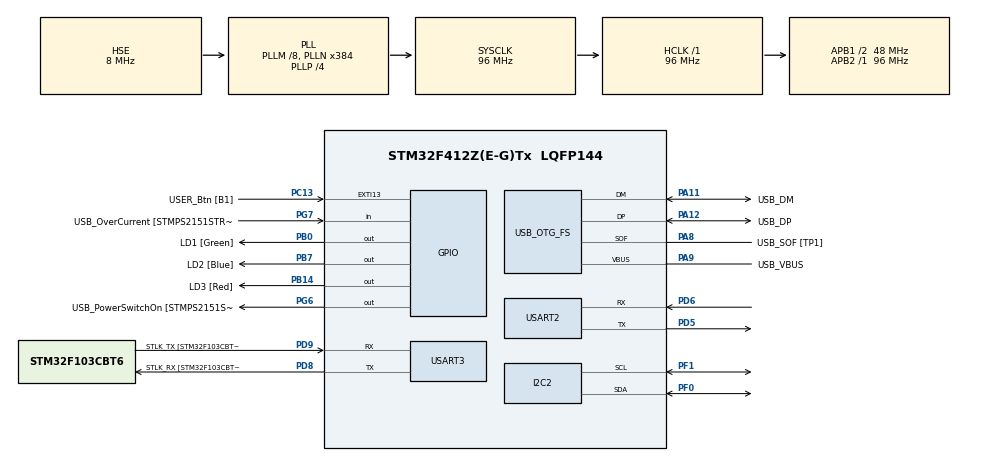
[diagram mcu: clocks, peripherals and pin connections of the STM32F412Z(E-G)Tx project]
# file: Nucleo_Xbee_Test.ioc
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Mcu.Family=STM32F4
Mcu.Name=STM32F412Z(E-G)Tx
Mcu.Package=LQFP144
NVIC.PriorityGroup=NVIC_PRIORITYGROUP_4
PA10.GPIO_Label=USB_ID
PA10.Signal=USB_OTG_FS_ID
PA11.GPIO_Label=USB_DM
PA11.Mode=Device_Only
PA11.Signal=USB_OTG_FS_DM
PA12.GPIO_Label=USB_DP
PA12.Mode=Device_Only
PA12.Signal=USB_OTG_FS_DP
PA13.GPIO_Label=TMS
PA13.Mode=Serial_Wire
PA13.Signal=SYS_JTMS-SWDIO
PA14.GPIO_Label=TCK
PA14.Mode=Serial_Wire
PA14.Signal=SYS_JTCK-SWCLK
PA8.GPIO_Label=USB_SOF [TP1]
PA8.Mode=Activate_SOF_FS
PA8.Signal=USB_OTG_FS_SOF
PA9.GPIO_Label=USB_VBUS
PA9.Mode=Activate_VBUS
PA9.Signal=USB_OTG_FS_VBUS
PB0.GPIO_Label=LD1 [Green]
PB0.Signal=GPIO_Output
PB14.GPIO_Label=LD3 [Red]
PB14.Signal=GPIO_Output
PB3.GPIO_Label=SWO
PB3.Signal=SYS_JTDO-SWO
PB7.GPIO_Label=LD2 [Blue]
PB7.Signal=GPIO_Output
PB8.Signal=I2C1_SCL
PC13.GPIO_Label=USER_Btn [B1]
PC13.Signal=GPXTI13
PC14-OSC32_IN.Mode=LSE-External-Oscillator
PC14-OSC32_IN.Signal=RCC_OSC32_IN
PC15-OSC32_OUT.Mode=LSE-External-Oscillator
PC15-OSC32_OUT.Signal=RCC_OSC32_OUT
PD5.Mode=Asynchronous
PD5.Signal=USART2_TX
PD6.Mode=Asynchronous
PD6.Signal=USART2_RX
PD8.GPIO_Label=STLK_RX [STM32F103CBT6_PA3]
PD8.Mode=Asynchronous
PD8.Signal=USART3_TX
PD9.GPIO_Label=STLK_TX [STM32F103CBT6_PA2]
PD9.Mode=Asynchronous
PD9.Signal=USART3_RX
PF0.Mode=I2C
PF0.Signal=I2C2_SDA
PF1.Mode=I2C
PF1.Signal=I2C2_SCL
PG14.Signal=USART6_TX
PG6.GPIO_Label=USB_PowerSwitchOn [STMPS2151STR_EN]
PG6.Signal=GPIO_Output
PG7.GPIO_Label=USB_OverCurrent [STMPS2151STR_FAULT]
PG7.Signal=GPIO_Input
PG9.Signal=USART6_RX
PH0\ -\ OSC_IN.GPIO_Label=MCO
PH0\ -\ OSC_IN.Mode=HSE-External-Clock-Source
PH0\ -\ OSC_IN.Signal=RCC_OSC_IN
PH1\ -\ OSC_OUT.Mode=HSE-External-Clock-Source
PH1\ -\ OSC_OUT.Signal=RCC_OSC_OUT
ProjectManager.HeapSize=0x200
ProjectManager.StackSize=0x400
ProjectManager.TargetToolchain=STM32CubeIDE
RCC.48MHZClocksFreq_Value=24000000
RCC.AHBFreq_Value=96000000
RCC.APB1CLKDivider=RCC_HCLK_DIV2
RCC.APB1Freq_Value=48000000
RCC.APB1TimFreq_Value=96000000
RCC.APB2Freq_Value=96000000
RCC.APB2TimFreq_Value=96000000
RCC.CortexFreq_Value=96000000
RCC.HCLKFreq_Value=96000000
RCC.HSE_VALUE=8000000
RCC.HSI_VALUE=16000000
RCC.PLLM=8
RCC.PLLMUL=RCC_PLL_MUL9
RCC.PLLN=384
RCC.PLLP=RCC_PLLP_DIV4
RCC.PLLQ=8
RCC.PRESCALERUSB=RCC_USBCLKSOURCE_PLL_DIV1_5
RCC.SYSCLKFreq_VALUE=96000000
RCC.SYSCLKSource=RCC_SYSCLKSOURCE_PLLCLK
RCC.SYSCLKSourceVirtual=RCC_SYSCLKSOURCE_PLLCLK
RCC.USBFreq_Value=48000000
RCC.VCOOutputFreq_Value=384000000
USART2.VirtualMode=VM_ASYNC
USART3.VirtualMode=VM_ASYNC
USB_OTG_FS.VirtualMode=Device_Only
board=NUCLEO-F412ZG

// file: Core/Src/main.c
/* USER CODE BEGIN Header */
/**
  ******************************************************************************
  * @file           : main.c
  * @brief          : Main program body
  ******************************************************************************
  * @attention
  *
  * Copyright (c) 2024 STMicroelectronics.
  * All rights reserved.
  *
  * This software is licensed under terms that can be found in the LICENSE file
  * in the root directory of this software component.
  * If no LICENSE file comes with this software, it is provided AS-IS.
  *
  ******************************************************************************
  */
/* USER CODE END Header */
#include "main.h"
#include <stdio.h>
#include <string.h>

/* USER CODE BEGIN PTD */
typedef uint8_t bool;
/* USER CODE END PTD */

/* USER CODE BEGIN PD */
#define RX_BFR_SIZE 50
#define TX_BFR_SIZE 255

#define TEAM_ID 2057
/* USER CODE END PD */

/* USER CODE BEGIN PM */

// XBee
uint8_t packet_count = 0;
uint8_t rx_packet[RX_BFR_SIZE];
uint8_t tx_data[TX_BFR_SIZE-18];
uint8_t tx_data2[TX_BFR_SIZE-18];
uint8_t tx_packet[TX_BFR_SIZE];
uint8_t tx_packet2[TX_BFR_SIZE];
uint8_t tx_count;
uint8_t tx_count2;
bool tx_ready;
uint8_t tx_part;
int8_t mission_time_hr;
int8_t mission_time_min;
int8_t mission_time_sec;
uint8_t rx_data[255];
HAL_StatusTypeDef uart_received;

/* USER CODE END PM */

I2C_HandleTypeDef hi2c2;

UART_HandleTypeDef huart2;
UART_HandleTypeDef huart3;

PCD_HandleTypeDef hpcd_USB_OTG_FS;

void SystemClock_Config(void);
static void MX_GPIO_Init(void);
static void MX_USART3_UART_Init(void);
static void MX_USB_OTG_FS_PCD_Init(void);
static void MX_USART2_UART_Init(void);
static void MX_I2C2_Init(void);

/* USER CODE BEGIN 0 */
void USART2_IRQHandler(void) {
    HAL_UART_IRQHandler(&huart2); // Call the HAL interrupt handler
}

void create_telemetry(uint8_t *ret, uint8_t part){
	char tel_buf[TX_BFR_SIZE-18] = {0};	//Preload buffer

	snprintf(tel_buf, TX_BFR_SIZE, "Hello Xbee!\0");

	memset(ret, 0, sizeof(ret));
	memcpy(ret, tel_buf, TX_BFR_SIZE-18);
}

char rxBuffer[100];

void HAL_UARTEx_RxEventCallback(UART_HandleTypeDef *huart, uint16_t Size){
//	int i = 0;
//		while (rx_data[i+15] != 0) {
//			rx_data[i] = rx_data[i+15];
//			i++;
//		}
//		rx_data[i-1] = 0;
//		for (; i < 255; i++) {
//			rx_data[i] = 0;
//		}
//
//

//
//	uart_received = HAL_UARTEx_ReceiveToIdle_IT(&huart2, rxBuffer, RX_BFR_SIZE);

    HAL_UART_Transmit(&huart2, rx_data, Size, 100);

    // Optionally, you can print it (if using printf with UART)
    printf("Received data: %s\r\n", rxBuffer);

//	memset(rxBuffer, 1, sizeof(rxBuffer));

    // Re-initialize the UART to receive more data after the previous one
    HAL_UARTEx_ReceiveToIdle_IT(&huart2, rx_data, RX_BFR_SIZE);

}

HAL_StatusTypeDef result;

void sendData() {
	create_telemetry(tx_data, 0);
	HAL_UART_Transmit(&huart2, tx_data, sizeof(tx_data), 100);
}

//void receiveData(char *buffer, uint16_t size) {
//	result = HAL_UART_Receive(&huart2, (uint8_t*)buffer, size, HAL_MAX_DELAY);
//}

/* USER CODE END 0 */

int main(void)
{

  /* MCU Configuration--------------------------------------------------------*/

  /* Reset of all peripherals, Initializes the Flash interface and the Systick. */
  HAL_Init();

  /* Configure the system clock */
  SystemClock_Config();

  /* Initialize all configured peripherals */
  MX_GPIO_Init();
  MX_USART3_UART_Init();
  MX_USB_OTG_FS_PCD_Init();
  MX_USART2_UART_Init();
  MX_I2C2_Init();
  /* USER CODE BEGIN 2 */

	memset(rx_data, 0, sizeof(rx_data));

//	uart_received = HAL_UART_Receive(&huart2, rxBuffer, RX_BFR_SIZE, HAL_MAX_DELAY);

  uart_received = HAL_UARTEx_ReceiveToIdle_IT(&huart2, rx_data, RX_BFR_SIZE);

  /* USER CODE END 2 */

  /* Infinite loop */
  /* USER CODE BEGIN WHILE */
  while (1)
  {
	// Test receiving data with HAL_UART_Receive in blocking mode

//	if (uart_received == HAL_OK) {
//		// If data is received successfully, process the received data
//		// For example, you can print it or send it back
//		// You can replace this part with how you want to handle the data
//
//		// Transmit the received data back (echo)
//		HAL_UART_Transmit(&huart2, rxBuffer, RX_BFR_SIZE, 100);
//
//		// Optional: Print the received data (if using printf with UART)
//		printf("Received data: %s\r\n", rxBuffer);
//
//		// Clear the buffer for the next reception
//		memset(rxBuffer, 0, RX_BFR_SIZE);
//	} else {
//		// Handle error case
//		printf("Error receiving data\r\n");
//	}

	// Add some delay between loops if needed
	HAL_Delay(100);

    /* USER CODE END WHILE */

  }
}

void SystemClock_Config(void)
{
  RCC_OscInitTypeDef RCC_OscInitStruct = {0};
  RCC_ClkInitTypeDef RCC_ClkInitStruct = {0};

  /** Configure the main internal regulator output voltage
  */
  __HAL_RCC_PWR_CLK_ENABLE();
  __HAL_PWR_VOLTAGESCALING_CONFIG(PWR_REGULATOR_VOLTAGE_SCALE1);

  /** Initializes the RCC Oscillators according to the specified parameters
  * in the RCC_OscInitTypeDef structure.
  */
  RCC_OscInitStruct.OscillatorType = RCC_OSCILLATORTYPE_HSE;
  RCC_OscInitStruct.HSEState = RCC_HSE_BYPASS;
  RCC_OscInitStruct.PLL.PLLState = RCC_PLL_ON;
  RCC_OscInitStruct.PLL.PLLSource = RCC_PLLSOURCE_HSE;
  RCC_OscInitStruct.PLL.PLLM = 8;
  RCC_OscInitStruct.PLL.PLLN = 384;
  RCC_OscInitStruct.PLL.PLLP = RCC_PLLP_DIV4;
  RCC_OscInitStruct.PLL.PLLQ = 8;
  RCC_OscInitStruct.PLL.PLLR = 2;
  if (HAL_RCC_OscConfig(&RCC_OscInitStruct) != HAL_OK)
  {
    Error_Handler();
  }

  /** Initializes the CPU, AHB and APB buses clocks
  */
  RCC_ClkInitStruct.ClockType = RCC_CLOCKTYPE_HCLK|RCC_CLOCKTYPE_SYSCLK
                              |RCC_CLOCKTYPE_PCLK1|RCC_CLOCKTYPE_PCLK2;
  RCC_ClkInitStruct.SYSCLKSource = RCC_SYSCLKSOURCE_PLLCLK;
  RCC_ClkInitStruct.AHBCLKDivider = RCC_SYSCLK_DIV1;
  RCC_ClkInitStruct.APB1CLKDivider = RCC_HCLK_DIV2;
  RCC_ClkInitStruct.APB2CLKDivider = RCC_HCLK_DIV1;

  if (HAL_RCC_ClockConfig(&RCC_ClkInitStruct, FLASH_LATENCY_3) != HAL_OK)
  {
    Error_Handler();
  }
}

static void MX_I2C2_Init(void)
{

  hi2c2.Instance = I2C2;
  hi2c2.Init.ClockSpeed = 100000;
  hi2c2.Init.DutyCycle = I2C_DUTYCYCLE_2;
  hi2c2.Init.OwnAddress1 = 0;
  hi2c2.Init.AddressingMode = I2C_ADDRESSINGMODE_7BIT;
  hi2c2.Init.DualAddressMode = I2C_DUALADDRESS_DISABLE;
  hi2c2.Init.OwnAddress2 = 0;
  hi2c2.Init.GeneralCallMode = I2C_GENERALCALL_DISABLE;
  hi2c2.Init.NoStretchMode = I2C_NOSTRETCH_DISABLE;
  if (HAL_I2C_Init(&hi2c2) != HAL_OK)
  {
    Error_Handler();
  }

}

static void MX_USART2_UART_Init(void)
{

  /* USER CODE BEGIN USART2_Init 0 */
	HAL_NVIC_SetPriority(USART2_IRQn, 0, 0);
	HAL_NVIC_EnableIRQ(USART2_IRQn);
  /* USER CODE END USART2_Init 0 */

  huart2.Instance = USART2;
  huart2.Init.BaudRate = 115200;
  huart2.Init.WordLength = UART_WORDLENGTH_8B;
  huart2.Init.StopBits = UART_STOPBITS_1;
  huart2.Init.Parity = UART_PARITY_NONE;
  huart2.Init.Mode = UART_MODE_TX_RX;
  huart2.Init.HwFlowCtl = UART_HWCONTROL_NONE;
  huart2.Init.OverSampling = UART_OVERSAMPLING_16;
  if (HAL_UART_Init(&huart2) != HAL_OK)
  {
    Error_Handler();
  }

}

static void MX_USART3_UART_Init(void)
{

  huart3.Instance = USART3;
  huart3.Init.BaudRate = 115200;
  huart3.Init.WordLength = UART_WORDLENGTH_8B;
  huart3.Init.StopBits = UART_STOPBITS_1;
  huart3.Init.Parity = UART_PARITY_NONE;
  huart3.Init.Mode = UART_MODE_TX_RX;
  huart3.Init.HwFlowCtl = UART_HWCONTROL_NONE;
  huart3.Init.OverSampling = UART_OVERSAMPLING_16;
  if (HAL_UART_Init(&huart3) != HAL_OK)
  {
    Error_Handler();
  }

}

static void MX_USB_OTG_FS_PCD_Init(void)
{

  hpcd_USB_OTG_FS.Instance = USB_OTG_FS;
  hpcd_USB_OTG_FS.Init.dev_endpoints = 6;
  hpcd_USB_OTG_FS.Init.speed = PCD_SPEED_FULL;
  hpcd_USB_OTG_FS.Init.dma_enable = DISABLE;
  hpcd_USB_OTG_FS.Init.phy_itface = PCD_PHY_EMBEDDED;
  hpcd_USB_OTG_FS.Init.Sof_enable = ENABLE;
  hpcd_USB_OTG_FS.Init.low_power_enable = DISABLE;
  hpcd_USB_OTG_FS.Init.lpm_enable = DISABLE;
  hpcd_USB_OTG_FS.Init.battery_charging_enable = ENABLE;
  hpcd_USB_OTG_FS.Init.vbus_sensing_enable = ENABLE;
  hpcd_USB_OTG_FS.Init.use_dedicated_ep1 = DISABLE;
  if (HAL_PCD_Init(&hpcd_USB_OTG_FS) != HAL_OK)
  {
    Error_Handler();
  }

}

static void MX_GPIO_Init(void)
{
  GPIO_InitTypeDef GPIO_InitStruct = {0};

  /* GPIO Ports Clock Enable */
  __HAL_RCC_GPIOC_CLK_ENABLE();
  __HAL_RCC_GPIOF_CLK_ENABLE();
  __HAL_RCC_GPIOH_CLK_ENABLE();
  __HAL_RCC_GPIOB_CLK_ENABLE();
  __HAL_RCC_GPIOD_CLK_ENABLE();
  __HAL_RCC_GPIOG_CLK_ENABLE();
  __HAL_RCC_GPIOA_CLK_ENABLE();

  /*Configure GPIO pin Output Level */
  HAL_GPIO_WritePin(GPIOB, LD1_Pin|LD3_Pin|LD2_Pin, GPIO_PIN_RESET);

  /*Configure GPIO pin Output Level */
  HAL_GPIO_WritePin(USB_PowerSwitchOn_GPIO_Port, USB_PowerSwitchOn_Pin, GPIO_PIN_RESET);

  /*Configure GPIO pin : USER_Btn_Pin */
  GPIO_InitStruct.Pin = USER_Btn_Pin;
  GPIO_InitStruct.Mode = GPIO_MODE_IT_RISING;
  GPIO_InitStruct.Pull = GPIO_NOPULL;
  HAL_GPIO_Init(USER_Btn_GPIO_Port, &GPIO_InitStruct);

  /*Configure GPIO pins : LD1_Pin LD3_Pin LD2_Pin */
  GPIO_InitStruct.Pin = LD1_Pin|LD3_Pin|LD2_Pin;
  GPIO_InitStruct.Mode = GPIO_MODE_OUTPUT_PP;
  GPIO_InitStruct.Pull = GPIO_NOPULL;
  GPIO_InitStruct.Speed = GPIO_SPEED_FREQ_LOW;
  HAL_GPIO_Init(GPIOB, &GPIO_InitStruct);

  /*Configure GPIO pin : USB_PowerSwitchOn_Pin */
  GPIO_InitStruct.Pin = USB_PowerSwitchOn_Pin;
  GPIO_InitStruct.Mode = GPIO_MODE_OUTPUT_PP;
  GPIO_InitStruct.Pull = GPIO_NOPULL;
  GPIO_InitStruct.Speed = GPIO_SPEED_FREQ_LOW;
  HAL_GPIO_Init(USB_PowerSwitchOn_GPIO_Port, &GPIO_InitStruct);

  /*Configure GPIO pin : USB_OverCurrent_Pin */
  GPIO_InitStruct.Pin = USB_OverCurrent_Pin;
  GPIO_InitStruct.Mode = GPIO_MODE_INPUT;
  GPIO_InitStruct.Pull = GPIO_NOPULL;
  HAL_GPIO_Init(USB_OverCurrent_GPIO_Port, &GPIO_InitStruct);

  /*Configure GPIO pins : PG9 PG14 */
  GPIO_InitStruct.Pin = GPIO_PIN_9|GPIO_PIN_14;
  GPIO_InitStruct.Mode = GPIO_MODE_AF_PP;
  GPIO_InitStruct.Pull = GPIO_NOPULL;
  GPIO_InitStruct.Speed = GPIO_SPEED_FREQ_VERY_HIGH;
  GPIO_InitStruct.Alternate = GPIO_AF8_USART6;
  HAL_GPIO_Init(GPIOG, &GPIO_InitStruct);

  /*Configure GPIO pin : PB8 */
  GPIO_InitStruct.Pin = GPIO_PIN_8;
  GPIO_InitStruct.Mode = GPIO_MODE_AF_OD;
  GPIO_InitStruct.Pull = GPIO_NOPULL;
  GPIO_InitStruct.Speed = GPIO_SPEED_FREQ_VERY_HIGH;
  GPIO_InitStruct.Alternate = GPIO_AF4_I2C1;
  HAL_GPIO_Init(GPIOB, &GPIO_InitStruct);

}

void Error_Handler(void)
{
  __disable_irq();
  while (1)
  {
  }
}
